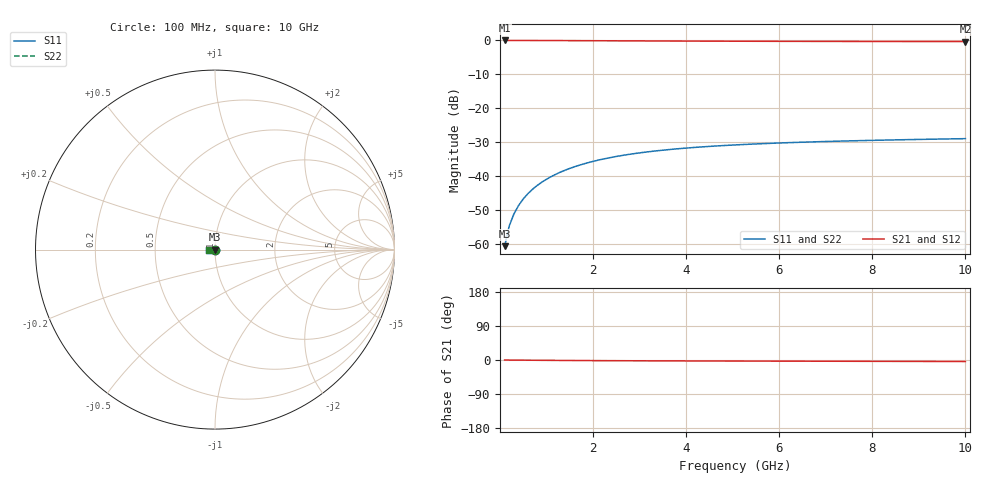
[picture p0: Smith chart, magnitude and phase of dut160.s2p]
! Touchstone file exported from HFSS 2024.1.0
!  File:  C:/UserFiles/LocalFiles/RDL_TSV_Batchsim/temp_TSV1_160_1779382229.aedt
!  Generated:  12:57:13 AM May 22, 2026
!  Design:  TSV1
!  Project:  temp_TSV1_160_1779382229
!  Setup:  Setup1
!  Solution:  Sweep
! Variables:
!  dtsv = 9.63um
!  hbump = 3um
!  htsv = 60.56um
!  lrdl = 252.1521522um
!  p = 40
!  p1 = 44.2um
!  t = 500um
!  trdl = 3um
!  wrdl = 24.89489489um
# GHz S MA R 50.000000
! Terminal data exported
! Port[1] = TSV22_T1
! Port[2] = TSV22_T2
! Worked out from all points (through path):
!   100 points, 100 MHz to 10 GHz, reference 50 ohm
!   highest |S21| = 0.00 dB at 100 MHz (marker M1); lowest = -0.3 dB at 10 GHz (marker M2)
!   lowest |S11| = -60.6 dB at 100 MHz (marker M3), VSWR 1.00, Z = 50 - j0.0926 ohm
!   |S11| at or under -10 dB: start of sweep to end of sweep
!   |S22| runs from -60.6 to -28.9 dB; largest |S21 - S12| = 2.5e-15
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0.1  0.0009319 -83.3  0.9998 -0.1  0.9998 -0.1  0.0009319 -83.3
! Gamma 0 0 0 0
! Port Impedance 50 0 50 0
0.2  0.001854 -88.9  0.9997 -0.2  0.9997 -0.2  0.001854 -88.9
0.3  0.002781 -91.9  0.9996 -0.3  0.9996 -0.3  0.002781 -91.9
0.4  0.003704 -94.3  0.9994 -0.4  0.9994 -0.4  0.003704 -94.3
0.5  0.00462 -96.4  0.9991 -0.5  0.9991 -0.5  0.00462 -96.4
0.6  0.005527 -98.3  0.9988 -0.5  0.9988 -0.5  0.005527 -98.3
0.7  0.006423 -100.2  0.9985 -0.6  0.9985 -0.6  0.006423 -100.2
0.8  0.007306 -102.0  0.9981 -0.7  0.9981 -0.7  0.007306 -102.0
0.9  0.008174 -103.7  0.9977 -0.8  0.9977 -0.8  0.008174 -103.7
1.1  0.009864 -107.0  0.9967 -1.0  0.9967 -1.0  0.009864 -107.0
1.4  0.01226 -111.8  0.995 -1.2  0.995 -1.2  0.01226 -111.8
1.6  0.01377 -114.8  0.9938 -1.3  0.9938 -1.3  0.01377 -114.8
1.8  0.01519 -117.7  0.9925 -1.5  0.9925 -1.5  0.01519 -117.7
2.1  0.01717 -121.8  0.9905 -1.6  0.9905 -1.6  0.01717 -121.8
2.5  0.01953 -126.8  0.9879 -1.9  0.9879 -1.9  0.01953 -126.8
2.9  0.02159 -131.5  0.9853 -2.0  0.9853 -2.0  0.02159 -131.5
3.4  0.02379 -136.7  0.9822 -2.2  0.9822 -2.2  0.02379 -136.7
4.2  0.02661 -144.0  0.978 -2.5  0.978 -2.5  0.02661 -144.0
5.1  0.02901 -150.8  0.9741 -2.8  0.9741 -2.8  0.02901 -150.8
6.7  0.03201 -160.6  0.969 -3.2  0.969 -3.2  0.03201 -160.6
8.4  0.0342 -168.8  0.9653 -3.6  0.9653 -3.6  0.0342 -168.8
10  0.03575 -175.3  0.9629 -4.0  0.9629 -4.0  0.03575 -175.3
